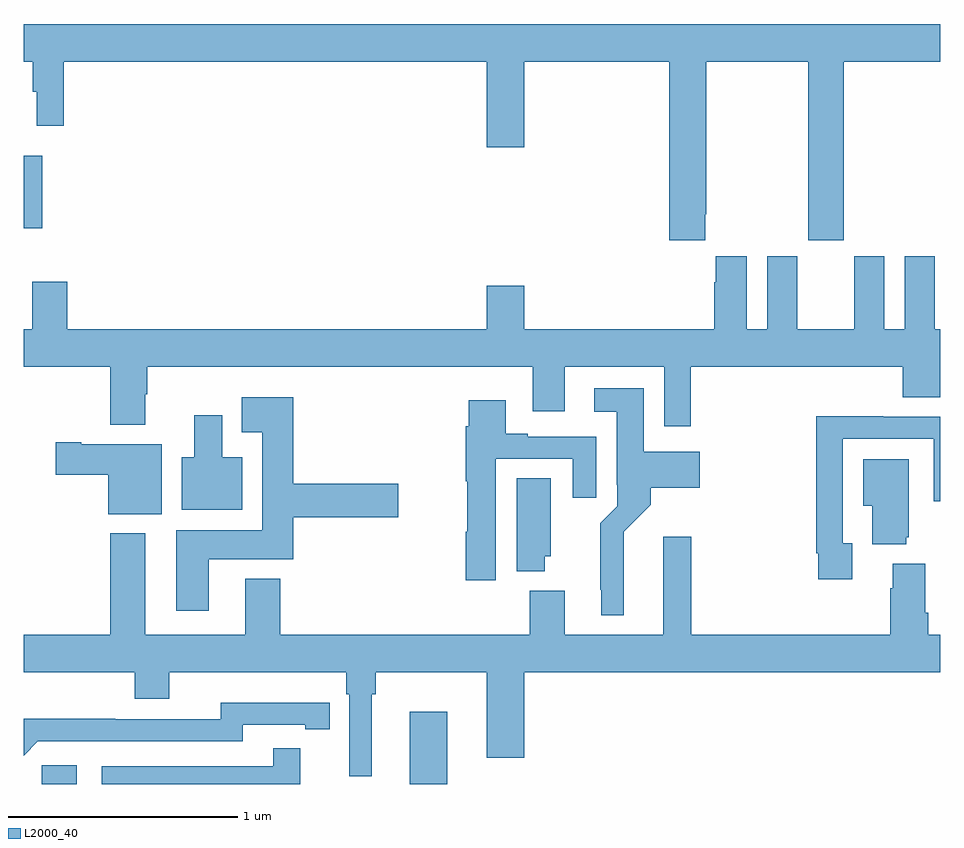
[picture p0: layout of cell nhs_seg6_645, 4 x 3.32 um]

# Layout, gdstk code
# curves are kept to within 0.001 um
import gdstk
lib = gdstk.Library(unit=1e-6, precision=1e-09)
def R(c, l, rs):  # rectangles x0, y0, x1, y1
    for r in rs: c.add(gdstk.rectangle(r[:2], r[2:], *l))
def P(c, l, *ps):  # polygons
    for p in ps: c.add(gdstk.Polygon(p, *l))
L2000_40 = (2000, 40)

nhs_seg6_645 = lib.new_cell('nhs_seg6_645')
R(nhs_seg6_645, L2000_40, [(151.08,961.5,151.231,961.582), (152.684,961.5,152.848,961.816), (151,963.924,151.082,964.242)])
P(nhs_seg6_645, L2000_40, [(153.973,963.985),(153.978,963.985),(153.978,964.652),(154.423,964.652),(154.423,963.873),(154.578,963.873),(154.578,964.652),(155,964.652),(155,964.816),(151,964.816),(151,964.652),(151.039,964.652),(151.039,964.52),(151.058,964.52),(151.058,964.371),(151.175,964.371),(151.175,964.652),(153.02,964.652),(153.02,964.278),(153.184,964.278),(153.184,964.652),(153.818,964.652),(153.818,963.873),(153.973,963.873)],
  [(153.911,963.32),(154.835,963.32),(154.835,963.187),(155,963.187),(155,963.484),(154.975,963.484),(154.975,963.802),(154.844,963.802),(154.844,963.484),(154.756,963.484),(154.756,963.802),(154.625,963.802),(154.625,963.484),(154.375,963.484),(154.375,963.802),(154.244,963.802),(154.244,963.484),(154.156,963.484),(154.156,963.802),(154.019,963.802),(154.019,963.689),(154.013,963.689),(154.013,963.484),(153.184,963.484),(153.184,963.673),(153.02,963.673),(153.02,963.484),(151.19,963.484),(151.19,963.691),(151.037,963.691),(151.037,963.484),(151,963.484),(151,963.32),(151.379,963.32),(151.379,963.068),(151.531,963.068),(151.531,963.2),(151.539,963.2),(151.539,963.32),(153.221,963.32),(153.221,963.126),(153.361,963.126),(153.361,963.32),(153.795,963.32),(153.795,963.06),(153.911,963.06)],
  [(153.619,962.6),(153.737,962.718),(153.737,962.792),(153.949,962.792),(153.949,962.95),(153.706,962.95),(153.706,963.226),(153.489,963.226),(153.489,963.125),(153.587,963.125),(153.587,962.806),(153.591,962.806),(153.591,962.712),(153.517,962.638),(153.517,962.347),(153.521,962.347),(153.521,962.237),(153.619,962.237)],
  [(151.807,962.48),(152.177,962.48),(152.177,962.663),(152.635,962.663),(152.635,962.81),(152.177,962.81),(152.177,963.187),(151.952,963.187),(151.952,963.035),(152.042,963.035),(152.042,962.608),(151.667,962.608),(151.667,962.256),(151.807,962.256)],
  [(153.061,962.919),(153.395,962.919),(153.395,962.748),(153.499,962.748),(153.499,963.015),(153.199,963.015),(153.199,963.028),(153.103,963.028),(153.103,963.175),(152.942,963.175),(152.942,963.062),(152.93,963.062),(152.93,962.822),(152.935,962.822),(152.935,962.6),(152.93,962.6),(152.93,962.388),(153.061,962.388)],
  [(151.954,962.926),(151.867,962.926),(151.867,963.109),(151.745,963.109),(151.745,962.926),(151.691,962.926),(151.691,962.696),(151.954,962.696)],
  [(154.615,962.55),(154.575,962.55),(154.575,963.006),(154.971,963.006),(154.971,962.733),(155,962.733),(155,963.102),(154.751,963.102),(154.751,963.104),(154.459,963.104),(154.459,962.506),(154.467,962.506),(154.467,962.394),(154.615,962.394)],
  [(151.603,962.983),(151.252,962.983),(151.252,962.991),(151.14,962.991),(151.14,962.849),(151.37,962.849),(151.37,962.678),(151.603,962.678)],
  [(154.85,962.577),(154.861,962.577),(154.861,962.917),(154.664,962.917),(154.664,962.714),(154.703,962.714),(154.703,962.546),(154.85,962.546)],
  [(153.274,962.493),(153.301,962.493),(153.301,962.834),(153.152,962.834),(153.152,962.429),(153.274,962.429)],
  [(152.518,961.892),(152.537,961.892),(152.537,961.988),(153.02,961.988),(153.02,961.614),(153.184,961.614),(153.184,961.988),(155,961.988),(155,962.152),(154.946,962.152),(154.946,962.248),(154.933,962.248),(154.933,962.461),(154.793,962.461),(154.793,962.354),(154.781,962.354),(154.781,962.152),(153.914,962.152),(153.914,962.578),(153.791,962.578),(153.791,962.152),(153.361,962.152),(153.361,962.344),(153.209,962.344),(153.209,962.152),(152.12,962.152),(152.12,962.395),(151.967,962.395),(151.967,962.152),(151.531,962.152),(151.531,962.593),(151.379,962.593),(151.379,962.152),(151,962.152),(151,961.988),(151.484,961.988),(151.484,961.871),(151.636,961.871),(151.636,961.988),(152.408,961.988),(152.408,961.892),(152.421,961.892),(152.421,961.533),(152.518,961.533)],
  [(151.062,961.686),(151.956,961.686),(151.956,961.758),(152.228,961.758),(152.228,961.738),(152.336,961.738),(152.336,961.854),(151.86,961.855),(151.86,961.782),(151.4,961.782),(151.4,961.784),(151,961.784),(151,961.624)],
  [(152.207,961.657),(152.089,961.657),(152.089,961.578),(151.341,961.578),(151.341,961.5),(152.207,961.5)])

lib.write_gds('nhs_seg6_645.gds')
